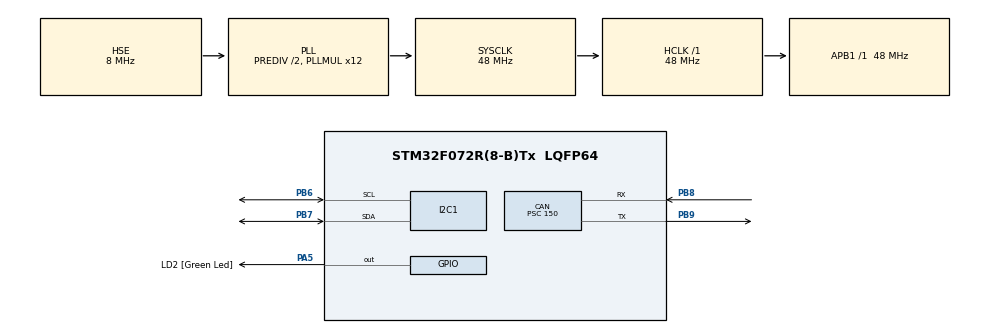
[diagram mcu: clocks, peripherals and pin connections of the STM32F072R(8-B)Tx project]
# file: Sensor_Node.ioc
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CAN.BS1=CAN_BS1_13TQ
CAN.BS2=CAN_BS2_2TQ
CAN.CalculateBaudRate=20000
CAN.CalculateTimeBit=50000
CAN.CalculateTimeQuantum=3125.0
CAN.Mode=CAN_MODE_NORMAL
CAN.Prescaler=150
CAN.SJW=CAN_SJW_1TQ
Mcu.Family=STM32F0
Mcu.Name=STM32F072R(8-B)Tx
Mcu.Package=LQFP64
NVIC.CEC_CAN_IRQn=true\:0\:0\:false\:false\:true\:true\:true\:true
PA13.GPIO_Label=TMS
PA13.Mode=Serial_Wire
PA13.Signal=SYS_SWDIO
PA14.GPIO_Label=TCK
PA14.Mode=Serial_Wire
PA14.Signal=SYS_SWCLK
PA5.GPIO_Label=LD2 [Green Led]
PA5.GPIO_Mode=GPIO_MODE_OUTPUT_PP
PA5.GPIO_PuPd=GPIO_NOPULL
PA5.GPIO_Speed=GPIO_SPEED_FREQ_LOW
PA5.Signal=GPIO_Output
PB6.Mode=I2C
PB6.Signal=I2C1_SCL
PB7.Mode=I2C
PB7.Signal=I2C1_SDA
PB8.GPIO_PuPd=GPIO_NOPULL
PB8.Mode=CAN_Activate
PB8.Signal=CAN_RX
PB9.GPIO_PuPd=GPIO_NOPULL
PB9.Mode=CAN_Activate
PB9.Signal=CAN_TX
PF0-OSC_IN.Mode=HSE-External-Oscillator
PF0-OSC_IN.Signal=RCC_OSC_IN
PF1-OSC_OUT.Mode=HSE-External-Oscillator
PF1-OSC_OUT.Signal=RCC_OSC_OUT
ProjectManager.HeapSize=0x200
ProjectManager.StackSize=0x400
ProjectManager.TargetToolchain=STM32CubeIDE
RCC.AHBFreq_Value=48000000
RCC.APB1Freq_Value=48000000
RCC.APB1TimFreq_Value=48000000
RCC.FLatency-AdvancedSettings=FLASH_LATENCY_1
RCC.HCLKFreq_Value=48000000
RCC.PLLDivider=RCC_PREDIV_DIV2
RCC.PLLMUL=RCC_PLL_MUL12
RCC.PLLSourceVirtual=RCC_PLLSOURCE_HSE
RCC.PREFETCH_ENABLE-AdvancedSettings=1
RCC.SYSCLKFreq_VALUE=48000000
RCC.SYSCLKSource=RCC_SYSCLKSOURCE_PLLCLK
board=NUCLEO-F072RB

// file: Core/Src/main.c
/* USER CODE BEGIN Header */
/**
  ******************************************************************************
  * @file           : main.c
  * @brief          : Main program body
  ******************************************************************************
  * @attention
  *
  * Copyright (c) 2023 STMicroelectronics.
  * All rights reserved.
  *
  * This software is licensed under terms that can be found in the LICENSE file
  * in the root directory of this software component.
  * If no LICENSE file comes with this software, it is provided AS-IS.
  *
  ******************************************************************************
  */
/* USER CODE END Header */
#include "main.h"

/* USER CODE BEGIN Includes */
#include "string.h"
#include "stdlib.h"
#include "stdio.h"
#include "bmp180.h"
#include "mpu6050.h"
#include "DS3231.h"

/* USER CODE END Includes */

/* USER CODE BEGIN PD */

// CAN constants
#define SERVER_CAN_ID 				0x01
#define SENSOR_NODE_CAN_ID   		0x30
#define CAN_PACKET_LEN    			8
#define START_MESSAGE_LEN 			1
#define STOP_MESSAGE_LEN 			1
#define CAN_SEND_DELAY				250 // in milliseconds

// i2c connection states
#define I2C_CONNECTED				1
#define I2C_DISCONNECTED			2

// config sensor buffer states
#define SENSOR_BUF_CREATED			1
#define SENSOR_BUF_NOT_CREATED		0

// sensor node data states
#define SENSOR_NODE_WAIT_STATE		0
#define SENSOR_NODE_TRANSMIT_STATE	1
#define SENSOR_NODE_CONFIG_STATE	2
#define SENSOR_NODE_ERROR_STATE		3

// sensor node command bytes
#define	SENSOR_NODE_WAIT_COMMAND		0xab
#define	SENSOR_NODE_CONFIG_COMMAND		0xcd
#define	SENSOR_NODE_TRANSMIT_COMMAND	0xba
#define SENSOR_NODE_RESET_COMMAND		0xdc

/* USER CODE END PD */

// i2c variables
I2C_HandleTypeDef hi2c1;
struct MPU6050 mpuP;
_RTC rtc;

// CAN variables
CAN_HandleTypeDef 			hcan;
CAN_RxHeaderTypeDef   		rx_header;
uint8_t               		rx_data[CAN_PACKET_LEN];
volatile uint8_t 			sensor_node_state = SENSOR_NODE_CONFIG_STATE;

// CAN network command response packets
uint8_t wait_state_ack_packet[CAN_PACKET_LEN] = {0xaa,0xff,0xaa,0xff,0xaa,0xff,0xaa,0xff};

void SystemClock_Config(void);
static void MX_GPIO_Init(void);
static void MX_CAN_Init(void);
static void MX_I2C1_Init(void);
/* USER CODE BEGIN PFP */

// functions for sending CAN packets/buffer
// --------------------------------------------------------------------------------------------------------

// send packet of size data_len over CAN
static void CAN_send_packet(	CAN_HandleTypeDef* hcan,
								CAN_TxHeaderTypeDef* TxHeader,
								uint8_t* TxData,
								uint8_t data_len	);

// send start packet over CAN
static void CAN_send_start(CAN_HandleTypeDef* hcan, CAN_TxHeaderTypeDef* TxHeader);

// send stop packet over CAN
static void CAN_send_stop(CAN_HandleTypeDef* hcan, CAN_TxHeaderTypeDef* TxHeader);

// send buffer of packets over CAN
static void CAN_send_buffer(	CAN_HandleTypeDef* hcan,
								CAN_TxHeaderTypeDef* TxHeader,
								uint8_t* buffer,
								uint8_t buffer_len	);

// send wait state acknowledgment packet
static void CAN_send_wait_state_ack(CAN_HandleTypeDef* hcan, CAN_TxHeaderTypeDef* TxHeader);

// send error packet
static void CAN_send_error(CAN_HandleTypeDef* hcan, CAN_TxHeaderTypeDef* TxHeader);

// --------------------------------------------------------------------------------------------------------

// sensor data functions
// --------------------------------------------------------------------------------------------------------

// configure sensors and create configuration buffer buffer
static uint8_t configure_sensors(uint8_t** sensor_config_buf, size_t* sensor_config_buf_len, size_t* sensor_buf_len);

#define NO_SENSOR 0x00

// create sensor buffer segment for specific sensor
static uint8_t create_sensor_buf_segment(uint8_t sensor_code, uint8_t* sensor_buf, size_t* sensor_buf_offset);

// read from connected sensors and create buffer for current timestep values
static void create_sensor_buffer(	uint8_t** sensor_config_buf,
									size_t* sensor_config_buf_len,
									uint8_t* sensor_buf,
									size_t* sensor_buf_len	);

// --------------------------------------------------------------------------------------------------------

/* USER CODE END PFP */

int main(void)
{

  /* MCU Configuration--------------------------------------------------------*/

  /* Reset of all peripherals, Initializes the Flash interface and the Systick. */
  HAL_Init();

  /* Configure the system clock */
  SystemClock_Config();

  /* Initialize all configured peripherals */
  MX_GPIO_Init();
  MX_CAN_Init();
  MX_I2C1_Init();
  HAL_Delay(500); // give time to set up peripherals

  /* USER CODE BEGIN 2 */
  // sensors
  //############################################################################################################

  // initialise i2c sensors

  // create sensor config buffer
  uint8_t* sensor_config_buf;
  size_t sensor_config_buf_len = 0;
  size_t sensor_data_buf_len = 0;
  //uint8_t* sensor_data_buf;

  if(configure_sensors(&sensor_config_buf, &sensor_config_buf_len, &sensor_data_buf_len) != SENSOR_BUF_CREATED)
  {
	  // terminate if config sensor buffer cannot be created
	  sensor_node_state = SENSOR_NODE_ERROR_STATE;
  }

  // create array to store sensor data from all sensors
  uint8_t sensor_data_buf[sensor_data_buf_len];

  //############################################################################################################

  // Start the CAN peripheral
  //############################################################################################################
  HAL_CAN_Start(&hcan);
  if (HAL_CAN_ActivateNotification(&hcan, CAN_IT_RX_FIFO0_MSG_PENDING) != HAL_OK)
  {
	  Error_Handler();
  }
  CAN_TxHeaderTypeDef TxHeader;
  TxHeader.IDE = CAN_ID_STD;
  TxHeader.StdId = SENSOR_NODE_CAN_ID;
  TxHeader.ExtId = 0;
  TxHeader.RTR = CAN_RTR_DATA;
  TxHeader.DLC = 8;
  TxHeader.TransmitGlobalTime = DISABLE;
  //############################################################################################################

  /* USER CODE END 2 */

  /* Infinite loop */
  while (1)
  {

    /* USER CODE BEGIN 3 */

	  // check sensor node state
	  if( sensor_node_state == SENSOR_NODE_CONFIG_STATE )
	  {
		 CAN_send_packet(&hcan, &TxHeader, sensor_config_buf, sensor_config_buf_len);
		 HAL_Delay(CAN_SEND_DELAY);
	  }
	  else if( sensor_node_state == SENSOR_NODE_WAIT_STATE )
	  {
		  CAN_send_wait_state_ack(&hcan, &TxHeader);
		  HAL_Delay(CAN_SEND_DELAY);
	  }
	  else if( sensor_node_state == SENSOR_NODE_TRANSMIT_STATE )
	  {
		  create_sensor_buffer(&sensor_config_buf, &sensor_config_buf_len, &sensor_data_buf[0], &sensor_data_buf_len);
		  CAN_send_buffer(&hcan, &TxHeader, sensor_data_buf, sensor_data_buf_len);
		  HAL_Delay(CAN_SEND_DELAY);
	  }
	  else if( sensor_node_state == SENSOR_NODE_ERROR_STATE )
	  {
		  CAN_send_error(&hcan, &TxHeader);
		  HAL_Delay(CAN_SEND_DELAY);
	  }

  }
  /* USER CODE END 3 */
}

void SystemClock_Config(void)
{
  RCC_OscInitTypeDef RCC_OscInitStruct = {0};
  RCC_ClkInitTypeDef RCC_ClkInitStruct = {0};
  RCC_PeriphCLKInitTypeDef PeriphClkInit = {0};

  /** Initializes the RCC Oscillators according to the specified parameters
  * in the RCC_OscInitTypeDef structure.
  */
  RCC_OscInitStruct.OscillatorType = RCC_OSCILLATORTYPE_HSI|RCC_OSCILLATORTYPE_HSE;
  RCC_OscInitStruct.HSEState = RCC_HSE_ON;
  RCC_OscInitStruct.HSIState = RCC_HSI_ON;
  RCC_OscInitStruct.HSICalibrationValue = RCC_HSICALIBRATION_DEFAULT;
  RCC_OscInitStruct.PLL.PLLState = RCC_PLL_ON;
  RCC_OscInitStruct.PLL.PLLSource = RCC_PLLSOURCE_HSE;
  RCC_OscInitStruct.PLL.PLLMUL = RCC_PLL_MUL12;
  RCC_OscInitStruct.PLL.PREDIV = RCC_PREDIV_DIV2;
  if (HAL_RCC_OscConfig(&RCC_OscInitStruct) != HAL_OK)
  {
    Error_Handler();
  }

  /** Initializes the CPU, AHB and APB buses clocks
  */
  RCC_ClkInitStruct.ClockType = RCC_CLOCKTYPE_HCLK|RCC_CLOCKTYPE_SYSCLK
                              |RCC_CLOCKTYPE_PCLK1;
  RCC_ClkInitStruct.SYSCLKSource = RCC_SYSCLKSOURCE_PLLCLK;
  RCC_ClkInitStruct.AHBCLKDivider = RCC_SYSCLK_DIV1;
  RCC_ClkInitStruct.APB1CLKDivider = RCC_HCLK_DIV1;

  if (HAL_RCC_ClockConfig(&RCC_ClkInitStruct, FLASH_LATENCY_1) != HAL_OK)
  {
    Error_Handler();
  }
  PeriphClkInit.PeriphClockSelection = RCC_PERIPHCLK_I2C1;
  PeriphClkInit.I2c1ClockSelection = RCC_I2C1CLKSOURCE_HSI;
  if (HAL_RCCEx_PeriphCLKConfig(&PeriphClkInit) != HAL_OK)
  {
    Error_Handler();
  }
}

static void MX_CAN_Init(void)
{

  hcan.Instance = CAN;
  hcan.Init.Prescaler = 150;
  hcan.Init.Mode = CAN_MODE_NORMAL;
  hcan.Init.SyncJumpWidth = CAN_SJW_1TQ;
  hcan.Init.TimeSeg1 = CAN_BS1_13TQ;
  hcan.Init.TimeSeg2 = CAN_BS2_2TQ;
  hcan.Init.TimeTriggeredMode = DISABLE;
  hcan.Init.AutoBusOff = DISABLE;
  hcan.Init.AutoWakeUp = DISABLE;
  hcan.Init.AutoRetransmission = DISABLE;
  hcan.Init.ReceiveFifoLocked = DISABLE;
  hcan.Init.TransmitFifoPriority = DISABLE;
  if (HAL_CAN_Init(&hcan) != HAL_OK)
  {
    Error_Handler();
  }
  /* USER CODE BEGIN CAN_Init 2 */
  // configure CAN filter to only accept commands from the sensor server
  CAN_FilterTypeDef canfilterconfig;
  canfilterconfig.FilterBank = (uint32_t)10;  // which filter bank to use from the assigned ones
  canfilterconfig.FilterFIFOAssignment = CAN_FILTER_FIFO0;
  canfilterconfig.FilterIdHigh = SERVER_CAN_ID<<5;
  canfilterconfig.FilterIdLow = SERVER_CAN_ID<<5;
  canfilterconfig.FilterMaskIdHigh = SERVER_CAN_ID<<5;
  canfilterconfig.FilterMaskIdLow = SERVER_CAN_ID<<5;
  canfilterconfig.FilterMode = CAN_FILTERMODE_IDLIST;
  canfilterconfig.FilterScale = CAN_FILTERSCALE_16BIT;
  canfilterconfig.FilterActivation = CAN_FILTER_ENABLE;
  HAL_CAN_ConfigFilter(&hcan, &canfilterconfig);
  /* USER CODE END CAN_Init 2 */

}

static void MX_I2C1_Init(void)
{

  hi2c1.Instance = I2C1;
  hi2c1.Init.Timing = 0x2000090E;
  hi2c1.Init.OwnAddress1 = 0;
  hi2c1.Init.AddressingMode = I2C_ADDRESSINGMODE_7BIT;
  hi2c1.Init.DualAddressMode = I2C_DUALADDRESS_DISABLE;
  hi2c1.Init.OwnAddress2 = 0;
  hi2c1.Init.OwnAddress2Masks = I2C_OA2_NOMASK;
  hi2c1.Init.GeneralCallMode = I2C_GENERALCALL_DISABLE;
  hi2c1.Init.NoStretchMode = I2C_NOSTRETCH_DISABLE;
  if (HAL_I2C_Init(&hi2c1) != HAL_OK)
  {
    Error_Handler();
  }

  /** Configure Analogue filter
  */
  if (HAL_I2CEx_ConfigAnalogFilter(&hi2c1, I2C_ANALOGFILTER_ENABLE) != HAL_OK)
  {
    Error_Handler();
  }

  /** Configure Digital filter
  */
  if (HAL_I2CEx_ConfigDigitalFilter(&hi2c1, 0) != HAL_OK)
  {
    Error_Handler();
  }

}

static void MX_GPIO_Init(void)
{
  GPIO_InitTypeDef GPIO_InitStruct = {0};

  /* GPIO Ports Clock Enable */
  __HAL_RCC_GPIOF_CLK_ENABLE();
  __HAL_RCC_GPIOA_CLK_ENABLE();
  __HAL_RCC_GPIOB_CLK_ENABLE();

  /*Configure GPIO pin Output Level */
  HAL_GPIO_WritePin(LD2_GPIO_Port, LD2_Pin, GPIO_PIN_RESET);

  /*Configure GPIO pin : LD2_Pin */
  GPIO_InitStruct.Pin = LD2_Pin;
  GPIO_InitStruct.Mode = GPIO_MODE_OUTPUT_PP;
  GPIO_InitStruct.Pull = GPIO_NOPULL;
  GPIO_InitStruct.Speed = GPIO_SPEED_FREQ_LOW;
  HAL_GPIO_Init(LD2_GPIO_Port, &GPIO_InitStruct);

}

/* USER CODE BEGIN 4 */

// function definitions
//-------------------------------------------------------------------------------------------------------------------------

static void CAN_send_packet(	CAN_HandleTypeDef* hcan,
								CAN_TxHeaderTypeDef* TxHeader,
								uint8_t* TxData,
								uint8_t data_len	)
{
	uint32_t TxMailbox;

	HAL_StatusTypeDef CAN_status;

	TxHeader->DLC = data_len;

	CAN_status = HAL_CAN_AddTxMessage(hcan, TxHeader, TxData, &TxMailbox);

	// IMPORTANT - must wait for CAN bytes to be sent before sending next section of bytes
	while(HAL_CAN_IsTxMessagePending(hcan, TxMailbox));

	if (CAN_status != HAL_OK)
	{
	HAL_CAN_GetError(hcan);
	Error_Handler();
	}
}

static void CAN_send_start(CAN_HandleTypeDef* hcan, CAN_TxHeaderTypeDef* TxHeader)
{
	uint8_t TxData = 0xff;
	CAN_send_packet(hcan, TxHeader, &TxData, START_MESSAGE_LEN);
}

static void CAN_send_stop(CAN_HandleTypeDef* hcan, CAN_TxHeaderTypeDef* TxHeader)
{
	uint8_t TxData = 0xaa;
	CAN_send_packet(hcan, TxHeader, &TxData, STOP_MESSAGE_LEN);
}

static void CAN_send_buffer(	CAN_HandleTypeDef* hcan,
								CAN_TxHeaderTypeDef* TxHeader,
								uint8_t* buffer,
								uint8_t buffer_len)
{
	size_t i_CAN_buf_len;
	if( buffer_len < CAN_PACKET_LEN )
	{
		i_CAN_buf_len = buffer_len;
	}
	else
	{
		i_CAN_buf_len = CAN_PACKET_LEN;
	}

	// iterate through bytes of data and send over CAN
	CAN_send_start(hcan, TxHeader);

	for(int mem_offset = 0; mem_offset < buffer_len; mem_offset += CAN_PACKET_LEN)
	{
	  CAN_send_packet(hcan, TxHeader, buffer+mem_offset, i_CAN_buf_len);
	}

	CAN_send_stop(hcan, TxHeader);
}

static void CAN_send_wait_state_ack(CAN_HandleTypeDef* hcan, CAN_TxHeaderTypeDef* TxHeader)
{
	CAN_send_packet(hcan, TxHeader, wait_state_ack_packet, CAN_PACKET_LEN);
}

// send error packet
static void CAN_send_error(CAN_HandleTypeDef* hcan, CAN_TxHeaderTypeDef* TxHeader)
{
	uint8_t TxData = 0xcc;
	CAN_send_packet(hcan, TxHeader, &TxData, STOP_MESSAGE_LEN);
}

static uint8_t configure_sensors(uint8_t** sensor_config_buf, size_t* sensor_config_buf_len, size_t* sensor_buf_len)
{
	// setup sensor configuration buffer
	size_t i_sensor_config_buf_len = 0;
	uint8_t* i_sensor_config_buf = (uint8_t*)calloc(i_sensor_config_buf_len, 0);

	// combined sensor data buffer length
	size_t i_sensor_buf_len = 0;
	HAL_StatusTypeDef ret;

	// initialise i2c sensors

	// attempt to initialise ds3231
	//---------------------------------------------------------------------------------------------------------
	ret = HAL_I2C_IsDeviceReady(&hi2c1, (uint16_t)DS3231_ADDR, 3, 5);
	if( ret == HAL_OK )
	{
		DS3231_Init(&hi2c1);
		i_sensor_config_buf_len++;
		i_sensor_config_buf = realloc( i_sensor_config_buf, i_sensor_config_buf_len * sizeof(uint8_t) );
		i_sensor_config_buf[i_sensor_config_buf_len-1] = DS3231_NET_CODE;
		i_sensor_buf_len += sizeof(float);
	}
	//---------------------------------------------------------------------------------------------------------

	//---------------------------------------------------------------------------------------------------------
	// attempt to initialise bmp180

	ret = HAL_I2C_IsDeviceReady(&hi2c1, (uint16_t)(BMP180_I2C_ADDR<<1), 3, 5);

	if( ret == HAL_OK )
	{
		BMP180_Init(&hi2c1);
		BMP180_SetOversampling(BMP180_ULTRA);
		BMP180_UpdateCalibrationData();
		i_sensor_config_buf_len++;
		i_sensor_config_buf = realloc( i_sensor_config_buf, i_sensor_config_buf_len * sizeof(uint8_t) );
		i_sensor_config_buf[i_sensor_config_buf_len-1] = BMP180_NET_CODE;
		i_sensor_buf_len += sizeof(bmp180_data);

	}
	//---------------------------------------------------------------------------------------------------------

	//---------------------------------------------------------------------------------------------------------
	// Attempt to initialise mpu6050

	ret = HAL_I2C_IsDeviceReady(&hi2c1, (uint16_t)MPU6050_ADDRESS, 3, 5);

	if( ret == HAL_OK )
	{
		MPU6050Init(&hi2c1, &mpuP, 1, 1, 1, 1);
		i_sensor_config_buf_len++;
		i_sensor_config_buf = realloc( i_sensor_config_buf, i_sensor_config_buf_len * sizeof(uint8_t) );
		i_sensor_config_buf[i_sensor_config_buf_len-1] = MPU6050_NET_CODE;
		i_sensor_buf_len += sizeof(mpu6050_data);

	}
	//---------------------------------------------------------------------------------------------------------

	if( i_sensor_config_buf_len < 1 )
	{
		free(i_sensor_config_buf);
		*sensor_config_buf_len = i_sensor_config_buf_len;
		*sensor_buf_len = i_sensor_buf_len;
		return SENSOR_BUF_NOT_CREATED;
	}
	else
	{
		*sensor_config_buf = (uint8_t*)calloc(i_sensor_config_buf_len, 0);
		*sensor_config_buf_len = i_sensor_config_buf_len;
		*sensor_buf_len = i_sensor_buf_len;
		memcpy(*sensor_config_buf, i_sensor_config_buf, i_sensor_config_buf_len * sizeof(uint8_t));
		free(i_sensor_config_buf);
		return SENSOR_BUF_CREATED;
	}

}

// create sensor buffer segment for specific sensor
static uint8_t create_sensor_buf_segment(uint8_t sensor_code, uint8_t* sensor_buf, size_t* sensor_buf_offset)
{
	switch( sensor_code )
	{
		case MPU6050_NET_CODE:
			MPU6050_get_buf(sensor_buf, sensor_buf_offset);
			return 1;
		case BMP180_NET_CODE:
			BMP180_get_buf(sensor_buf, sensor_buf_offset);
			return 1;
		case DS3231_NET_CODE:
			DS3231_get_buf(sensor_buf, sensor_buf_offset);
			return 1;
		default:
			return NO_SENSOR;
	}
}

// read from connected sensors and create buffer for current timestep values
static void create_sensor_buffer(	uint8_t** sensor_config_buf,
									size_t* sensor_config_buf_len,
									uint8_t* sensor_buf,
									size_t* sensor_buf_len	)
{
	size_t sensor_buf_offset = 0;

	for( int i = 0; i < *sensor_config_buf_len; i++ )
	{
		uint8_t sensor_code = (*sensor_config_buf)[i];
		create_sensor_buf_segment(sensor_code, sensor_buf, &sensor_buf_offset);
	}

	return;
}

//-------------------------------------------------------------------------------------------------------------------------

void HAL_CAN_RxFifo0MsgPendingCallback(CAN_HandleTypeDef *hcan)
{
  if (HAL_CAN_GetRxMessage(hcan, CAN_RX_FIFO0, &rx_header, rx_data) == HAL_OK)
  {
	 // check if message received and set sensor node state flag
	 if( rx_data[0] == SENSOR_NODE_CAN_ID )
	 {
		 sensor_node_state = SENSOR_NODE_TRANSMIT_STATE;
		 HAL_GPIO_WritePin(LD2_GPIO_Port, LD2_Pin, GPIO_PIN_SET);
	 }
	 else if( rx_data[0] == SENSOR_NODE_RESET_COMMAND )
	 {
		 HAL_NVIC_SystemReset();
	 }
	 else
	 {
		 sensor_node_state = SENSOR_NODE_WAIT_STATE;
		 HAL_GPIO_WritePin(LD2_GPIO_Port, LD2_Pin, GPIO_PIN_RESET);
	 }
  }
}

void HAL_CAN_ErrorCallback(CAN_HandleTypeDef *hcan)
{

}

/* USER CODE END 4 */

void Error_Handler(void)
{
  /* USER CODE BEGIN Error_Handler_Debug */
  /* User can add his own implementation to report the HAL error return state */
  __disable_irq();
  //HAL_GPIO_WritePin(LD2_GPIO_Port, LD2_Pin, GPIO_PIN_SET);
  while (1)
  {
  }
  /* USER CODE END Error_Handler_Debug */
}
